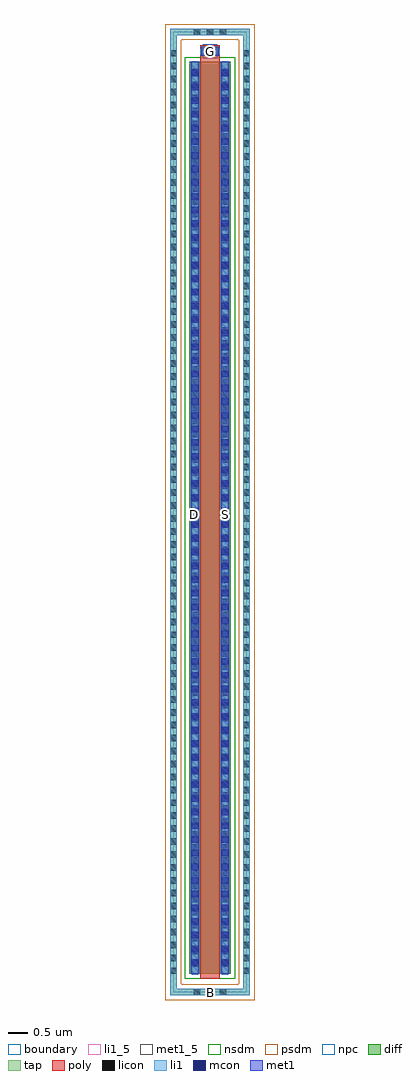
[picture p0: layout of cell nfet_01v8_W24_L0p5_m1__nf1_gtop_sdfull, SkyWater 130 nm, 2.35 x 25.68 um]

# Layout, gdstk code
import gdstk
lib = gdstk.Library(unit=1e-6, precision=1e-09)
def R(c, l, rs):  # rectangles x0, y0, x1, y1
    for r in rs: c.add(gdstk.rectangle(r[:2], r[2:], *l))
def A(c, l, x, y, w, h, nx, ny, dx, dy):  # array of equal rectangles
    R(c, l, [(x+i*dx, y+j*dy, x+i*dx+w, y+j*dy+h) for i in range(nx) for j in range(ny)])
diff = (65, 20)
tap = (65, 44)
poly = (66, 20)
licon = (66, 44)
li1_5 = (67, 5)
li1 = (67, 20)
mcon = (67, 44)
met1_5 = (68, 5)
met1 = (68, 20)
nsdm = (93, 44)
psdm = (94, 20)
npc = (95, 20)
boundary = (235, 4)

sky130_fd_pr__nfet_01v8_ = lib.new_cell('sky130_fd_pr__nfet_01v8_F4KVWX')
R(sky130_fd_pr__nfet_01v8_, diff, [(-0.54,-12.155,0.54,11.845)])
R(sky130_fd_pr__nfet_01v8_, tap, [(-1.05,-12.715,1.05,-12.545), (-1.05,-12.545,-0.88,12.545), (0.88,-12.545,1.05,12.545), (-1.05,12.545,1.05,12.715)])
R(sky130_fd_pr__nfet_01v8_, poly, [(-0.25,-12.285,0.25,12.285)])
A(sky130_fd_pr__nfet_01v8_, licon, -0.425, -12.715, 0.17, 0.17, 3, 2, 0.34, 25.26)
A(sky130_fd_pr__nfet_01v8_, licon, -1.05, -12.155, 0.17, 0.17, 1, 72, 0, 0.34)
A(sky130_fd_pr__nfet_01v8_, licon, 0.88, -12.155, 0.17, 0.17, 1, 72, 0, 0.34)
A(sky130_fd_pr__nfet_01v8_, licon, -0.48, -11.97, 0.17, 0.17, 1, 70, 0, 0.34)
A(sky130_fd_pr__nfet_01v8_, licon, 0.31, -11.97, 0.17, 0.17, 1, 70, 0, 0.34)
R(sky130_fd_pr__nfet_01v8_, licon, [(-0.085,12.035,0.085,12.205)])
R(sky130_fd_pr__nfet_01v8_, li1, [(-1.05,-12.715,1.05,-12.545), (-1.05,-12.545,-0.88,12.545), (0.88,-12.545,1.05,12.545), (-0.48,-12.175,-0.31,11.865), (0.31,-12.175,0.48,11.865), (-0.25,12.035,0.25,12.205), (-1.05,12.545,1.05,12.715)])
A(sky130_fd_pr__nfet_01v8_, mcon, -0.48, -11.94, 0.17, 0.17, 1, 66, 0, 0.36)
A(sky130_fd_pr__nfet_01v8_, mcon, 0.31, -11.94, 0.17, 0.17, 1, 66, 0, 0.36)
R(sky130_fd_pr__nfet_01v8_, mcon, [(-0.085,12.035,0.085,12.205)])
R(sky130_fd_pr__nfet_01v8_, met1, [(-0.51,-12.155,-0.28,11.845), (0.28,-12.155,0.51,11.845), (-0.23,12.005,0.23,12.235)])
R(sky130_fd_pr__nfet_01v8_, nsdm, [(-0.665,-12.28,0.665,11.97)])
R(sky130_fd_pr__nfet_01v8_, psdm, [(-1.175,-12.84,1.175,-12.42), (-1.175,-12.42,-0.755,12.42), (0.755,-12.42,1.175,12.42), (-1.175,12.42,1.175,12.84)])
R(sky130_fd_pr__nfet_01v8_, npc, [(-0.185,11.935,0.185,12.305)])
R(sky130_fd_pr__nfet_01v8_, boundary, [(-0.965,-12.63,0.965,12.63)])
sky130_fd_pr__nfet_01v8_.add(gdstk.Label('B', (0,-12.63), layer=67, texttype=5))
sky130_fd_pr__nfet_01v8_.add(gdstk.Label('D', (-0.395,-0.155), layer=67, texttype=5))
sky130_fd_pr__nfet_01v8_.add(gdstk.Label('S', (0.395,-0.155), layer=67, texttype=5))
sky130_fd_pr__nfet_01v8_.add(gdstk.Label('G', (0,12.12), layer=67, texttype=5))

nfet_01v8_w24_l0p5_m1__n = lib.new_cell('nfet_01v8_W24_L0p5_m1__nf1_gtop_sdfull')
R(nfet_01v8_w24_l0p5_m1__n, li1_5, [(0.88,-0.085,1.05,0.085)])
R(nfet_01v8_w24_l0p5_m1__n, li1, [(0.88,-0.085,1.05,0.085)])
R(nfet_01v8_w24_l0p5_m1__n, met1_5, [(0.455,12.475,0.685,12.675), (1.245,12.475,1.475,12.675), (0.735,24.635,1.195,24.865)])
R(nfet_01v8_w24_l0p5_m1__n, met1, [(0.455,12.475,0.685,12.675), (1.245,12.475,1.475,12.675), (0.735,24.635,1.195,24.865)])
nfet_01v8_w24_l0p5_m1__n.add(gdstk.Reference(sky130_fd_pr__nfet_01v8_, (0.965,12.63)))
nfet_01v8_w24_l0p5_m1__n.add(gdstk.Label('D', (0.57,12.575), layer=68, texttype=5))
nfet_01v8_w24_l0p5_m1__n.add(gdstk.Label('S', (1.36,12.575), layer=68, texttype=5))
nfet_01v8_w24_l0p5_m1__n.add(gdstk.Label('G', (0.965,24.75), layer=68, texttype=5))
nfet_01v8_w24_l0p5_m1__n.add(gdstk.Label('B', (0.965,0), layer=67, texttype=5))

lib.write_gds('nfet_01v8_W24_L0p5_m1__nf1_gtop_sdfull.gds')
